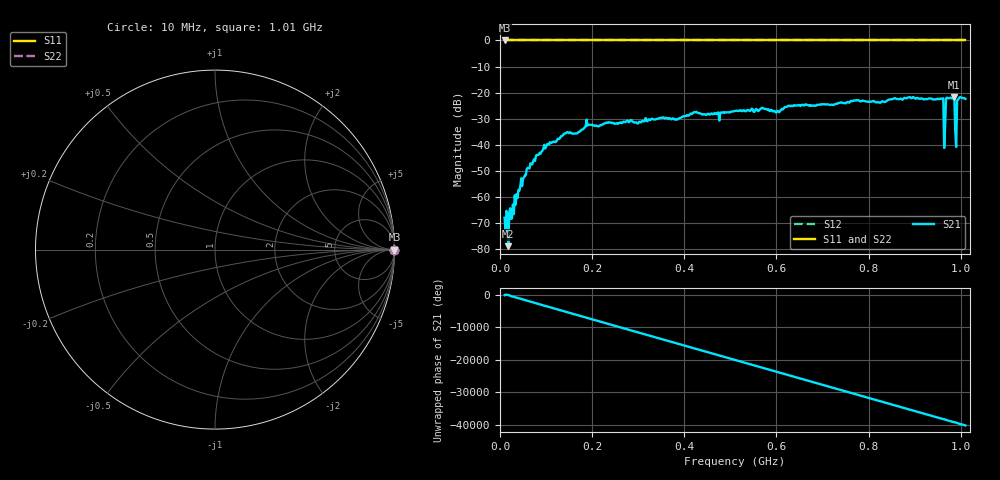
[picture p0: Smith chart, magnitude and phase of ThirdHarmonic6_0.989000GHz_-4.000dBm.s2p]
! 8/16/2025 7:47:32 AM
! C:\ANRITSUVNA\TEMP\TEMP.S2P
! CHANNEL.1
! TR.MEASUREMENT
! RAW.DATA
! RF.CORRECTION.OFF
! AVERAGING.OFF
! IF.BANDWIDTH: 5KHZ
! SWEEPTYPE:  FREQ.SWEEP(Linear)
! Reference Plane Port Info
! PORT:  PORT1  PORT2
! DISTANCE:  0  m  0  m
! TIME:  0  s  0  s
! PHASE.OFFSET:  0  deg.  0  deg.
! LOSS:  0  dB  0  dB
! REF.LOSS:  0  dB  0  dB
! REF.FREQ:  0  Hz  0  Hz
! Power Info
! POWER:  -20  dBm  -20  dBm
! EFF.POWER:  -20  dBm  -20  dBm
! SOURCE.ATTEN:  0  dB  0  dB
! TEST.ATTEN:  0  dB  0  dB
# GHZ S RI R 50.0
! FREQ.GHZ  S11RE  S11IM  S21RE  S21IM  S12RE  S12IM  S22RE  S22IM
!; PortSelection: Port_12
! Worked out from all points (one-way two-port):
!   501 points, 10 MHz to 1.01 GHz, reference 50 ohm
!   highest |S21| = -21.67 dB at 986 MHz (marker M1); lowest = -78.9 dB at 18 MHz (marker M2)
!   lowest |S11| = 0.0 dB at 10 MHz (marker M3)
!   |S11| at or under -10 dB: nowhere
!   |S22| runs from 0.0 to 0.0 dB; largest |S21 - S12| = 1.1
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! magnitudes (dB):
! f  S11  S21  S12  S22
! 10 MHz  0.0  -68.0  0.0  0.0
! 14 MHz  0.0  -65.4  0.0  0.0
! 18 MHz  0.0  -78.9  0.0  0.0
! 22 MHz  0.0  -64.4  0.0  0.0
! 24 MHz  0.0  -68.5  0.0  0.0
! 56 MHz  0.0  -51.8  0.0  0.0
! 82 MHz  0.0  -44.0  0.0  0.0
! 142 MHz  0.0  -35.6  0.0  0.0
! 178 MHz  0.0  -34.2  0.0  0.0
! 344 MHz  0.0  -30.0  0.0  0.0
! 510 MHz  0.0  -27.0  0.0  0.0
! 678 MHz  0.0  -25.1  0.0  0.0
! 844 MHz  0.0  -22.7  0.0  0.0
! 958 MHz  0.0  -22.4  0.0  0.0
! 962 MHz  0.0  -22.2  0.0  0.0
! 968 MHz  0.0  -22.2  0.0  0.0
! 972 MHz  0.0  -22.1  0.0  0.0
! 982 MHz  0.0  -22.3  0.0  0.0
! 986 MHz  0.0  -21.7  0.0  0.0
! 992 MHz  0.0  -23.0  0.0  0.0
! 996 MHz  0.0  -22.2  0.0  0.0
! 1.01 GHz  0.0  -22.4  0.0  0.0
